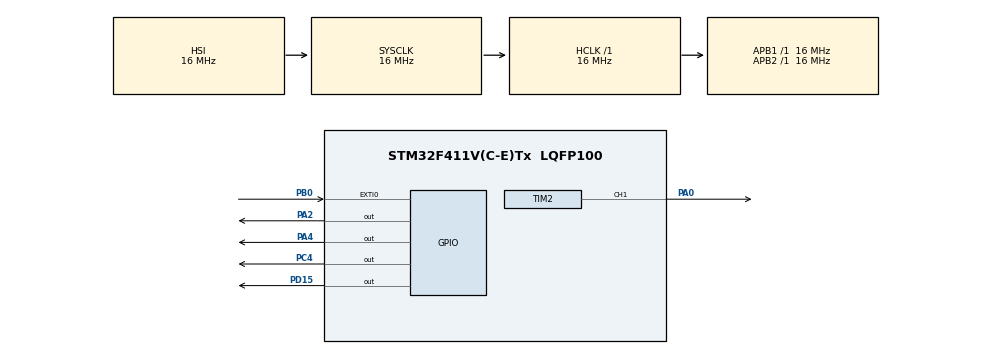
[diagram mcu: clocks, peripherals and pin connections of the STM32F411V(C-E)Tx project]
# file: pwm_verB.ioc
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Mcu.Family=STM32F4
Mcu.Name=STM32F411V(C-E)Tx
Mcu.Package=LQFP100
NVIC.EXTI0_IRQn=true\:1\:0\:true\:false\:true\:true\:true\:true
NVIC.PriorityGroup=NVIC_PRIORITYGROUP_4
PA0-WKUP.Signal=S_TIM2_CH1_ETR
PA13.Mode=Serial_Wire
PA13.Signal=SYS_JTMS-SWDIO
PA14.Mode=Serial_Wire
PA14.Signal=SYS_JTCK-SWCLK
PA2.Signal=GPIO_Output
PA4.Signal=GPIO_Output
PB0.GPIO_ModeDefaultEXTI=GPIO_MODE_IT_FALLING
PB0.Signal=GPXTI0
PC4.Signal=GPIO_Output
PD15.Signal=GPIO_Output
ProjectManager.HeapSize=0x200
ProjectManager.StackSize=0x400
ProjectManager.TargetToolchain=STM32CubeIDE
RCC.AHBFreq_Value=16000000
RCC.APB1Freq_Value=16000000
RCC.APB2Freq_Value=16000000
RCC.CortexFreq_Value=16000000
RCC.HSE_VALUE=25000000
RCC.HSI_VALUE=16000000
RCC.LSE_VALUE=32768
RCC.SYSCLKFreq_VALUE=16000000
RCC.VCOOutputFreq_Value=192000000
SH.S_TIM2_CH1_ETR.0=TIM2_CH1,PWM Generation1 CH1
TIM2.Channel-PWM\ Generation1\ CH1=TIM_CHANNEL_1
TIM2.Period=99
TIM2.Prescaler=159
VP_TIM2_VS_ClockSourceINT.Mode=Internal
board=custom

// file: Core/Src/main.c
/* USER CODE BEGIN Header */
/**
  ******************************************************************************
  * @file           : main.c
  * @brief          : Main program body
  ******************************************************************************
  * @attention
  *
  * Copyright (c) 2022 STMicroelectronics.
  * All rights reserved.
  *
  * This software is licensed under terms that can be found in the LICENSE file
  * in the root directory of this software component.
  * If no LICENSE file comes with this software, it is provided AS-IS.
  *
  ******************************************************************************
  */
/* USER CODE END Header */
#include "main.h"

/* USER CODE BEGIN PD */
#define IN1_PORT GPIOA
#define IN1_PIN GPIO_PIN_2

#define IN2_PORT GPIOA
#define IN2_PIN GPIO_PIN_4

#define RUNLED_PORT GPIOC
#define RUNLED_PIN GPIO_PIN_4
/* USER CODE END PD */

 TIM_HandleTypeDef htim2;

void SystemClock_Config(void);
static void MX_GPIO_Init(void);
static void MX_TIM2_Init(void);

/* USER CODE BEGIN 0 */
int8_t mode = 0;
void HAL_GPIO_EXTI_Callback(uint16_t GPIO_Pin)
 {

	if (mode == 0) {
		HAL_GPIO_WritePin(GPIOD, GPIO_PIN_15, GPIO_PIN_RESET);
		mode = 1;
	} else if (mode == 1) {
		HAL_GPIO_WritePin(GPIOD, GPIO_PIN_15, GPIO_PIN_SET);
		mode = 0;
	}
	HAL_Delay(200);
	uint32_t startTime = HAL_GetTick();
	while (HAL_GPIO_ReadPin(GPIOB, GPIO_PIN_0) == GPIO_PIN_RESET) {
		if (HAL_GetTick() - startTime > 3000) {
			break;
		}
	}
	HAL_Delay(100); // Error
	EXTI->PR = GPIO_Pin;

}
/* USER CODE END 0 */

int main(void)
{

  /* MCU Configuration--------------------------------------------------------*/

  /* Reset of all peripherals, Initializes the Flash interface and the Systick. */
  HAL_Init();

  /* Configure the system clock */
  SystemClock_Config();

  /* Initialize all configured peripherals */
  MX_GPIO_Init();
  MX_TIM2_Init();
  /* USER CODE BEGIN 2 */
  HAL_TIM_PWM_Start(&htim2, TIM_CHANNEL_1);
  /* USER CODE END 2 */

  /* Infinite loop */
  /* USER CODE BEGIN WHILE */
  while (1)
  {
	  		if (mode == 0) {
	  			HAL_GPIO_WritePin(IN1_PORT, IN1_PIN, 0);
	  			HAL_GPIO_WritePin(IN2_PORT, IN2_PIN, 0);
	  			HAL_GPIO_WritePin(RUNLED_PORT, RUNLED_PIN, 1);
	  			__HAL_TIM_SetCompare(&htim2,TIM_CHANNEL_1,0);
	  		} else if (mode == 1) {
	  			for (int i = 0; i <= 99; i++) {
	  				if(mode == 0)
	  				{
	  					break;
	  				}
	  				HAL_GPIO_WritePin(IN1_PORT, IN1_PIN, 1);
	  				HAL_GPIO_WritePin(IN2_PORT, IN2_PIN, 0);
	  				HAL_GPIO_WritePin(RUNLED_PORT, RUNLED_PIN, 0);
	  				__HAL_TIM_SetCompare(&htim2,TIM_CHANNEL_1,i);
	  				HAL_Delay(50);
	  			}
	  			HAL_Delay(1000);
	  			HAL_GPIO_WritePin(IN1_PORT, IN1_PIN, 0);
	  			HAL_GPIO_WritePin(IN2_PORT, IN2_PIN, 0);
	  			HAL_GPIO_WritePin(RUNLED_PORT, RUNLED_PIN, 1);
	  			__HAL_TIM_SetCompare(&htim2,TIM_CHANNEL_1,0);
	  			HAL_Delay(1000);
	  			for (int i = 0; i <= 99; i++) {
	  				if(mode == 0)
	  				{
	  					break;
	  				}
	  				HAL_GPIO_WritePin(IN1_PORT, IN1_PIN, 0);
	  				HAL_GPIO_WritePin(IN2_PORT, IN2_PIN, 1);
	  				HAL_GPIO_WritePin(RUNLED_PORT, RUNLED_PIN, 0);
	  				__HAL_TIM_SetCompare(&htim2,TIM_CHANNEL_1,i);
	  				HAL_Delay(50);
	  			}
	  			HAL_Delay(1000);
	  			HAL_GPIO_WritePin(IN1_PORT, IN1_PIN, 0);
	  			HAL_GPIO_WritePin(IN2_PORT, IN2_PIN, 0);
	  			HAL_GPIO_WritePin(RUNLED_PORT, RUNLED_PIN, 1);
	  			__HAL_TIM_SetCompare(&htim2,TIM_CHANNEL_1,0);
	  			HAL_Delay(1000);
	  		}
    /* USER CODE END WHILE */

  }
}

void SystemClock_Config(void)
{
  RCC_OscInitTypeDef RCC_OscInitStruct = {0};
  RCC_ClkInitTypeDef RCC_ClkInitStruct = {0};

  /** Configure the main internal regulator output voltage
  */
  __HAL_RCC_PWR_CLK_ENABLE();
  __HAL_PWR_VOLTAGESCALING_CONFIG(PWR_REGULATOR_VOLTAGE_SCALE1);

  /** Initializes the RCC Oscillators according to the specified parameters
  * in the RCC_OscInitTypeDef structure.
  */
  RCC_OscInitStruct.OscillatorType = RCC_OSCILLATORTYPE_HSI;
  RCC_OscInitStruct.HSIState = RCC_HSI_ON;
  RCC_OscInitStruct.HSICalibrationValue = RCC_HSICALIBRATION_DEFAULT;
  RCC_OscInitStruct.PLL.PLLState = RCC_PLL_NONE;
  if (HAL_RCC_OscConfig(&RCC_OscInitStruct) != HAL_OK)
  {
    Error_Handler();
  }

  /** Initializes the CPU, AHB and APB buses clocks
  */
  RCC_ClkInitStruct.ClockType = RCC_CLOCKTYPE_HCLK|RCC_CLOCKTYPE_SYSCLK
                              |RCC_CLOCKTYPE_PCLK1|RCC_CLOCKTYPE_PCLK2;
  RCC_ClkInitStruct.SYSCLKSource = RCC_SYSCLKSOURCE_HSI;
  RCC_ClkInitStruct.AHBCLKDivider = RCC_SYSCLK_DIV1;
  RCC_ClkInitStruct.APB1CLKDivider = RCC_HCLK_DIV1;
  RCC_ClkInitStruct.APB2CLKDivider = RCC_HCLK_DIV1;

  if (HAL_RCC_ClockConfig(&RCC_ClkInitStruct, FLASH_LATENCY_0) != HAL_OK)
  {
    Error_Handler();
  }
}

static void MX_TIM2_Init(void)
{

  TIM_ClockConfigTypeDef sClockSourceConfig = {0};
  TIM_MasterConfigTypeDef sMasterConfig = {0};
  TIM_OC_InitTypeDef sConfigOC = {0};

  htim2.Instance = TIM2;
  htim2.Init.Prescaler = 159;
  htim2.Init.CounterMode = TIM_COUNTERMODE_UP;
  htim2.Init.Period = 99;
  htim2.Init.ClockDivision = TIM_CLOCKDIVISION_DIV1;
  htim2.Init.AutoReloadPreload = TIM_AUTORELOAD_PRELOAD_DISABLE;
  if (HAL_TIM_Base_Init(&htim2) != HAL_OK)
  {
    Error_Handler();
  }
  sClockSourceConfig.ClockSource = TIM_CLOCKSOURCE_INTERNAL;
  if (HAL_TIM_ConfigClockSource(&htim2, &sClockSourceConfig) != HAL_OK)
  {
    Error_Handler();
  }
  if (HAL_TIM_PWM_Init(&htim2) != HAL_OK)
  {
    Error_Handler();
  }
  sMasterConfig.MasterOutputTrigger = TIM_TRGO_RESET;
  sMasterConfig.MasterSlaveMode = TIM_MASTERSLAVEMODE_DISABLE;
  if (HAL_TIMEx_MasterConfigSynchronization(&htim2, &sMasterConfig) != HAL_OK)
  {
    Error_Handler();
  }
  sConfigOC.OCMode = TIM_OCMODE_PWM1;
  sConfigOC.Pulse = 0;
  sConfigOC.OCPolarity = TIM_OCPOLARITY_HIGH;
  sConfigOC.OCFastMode = TIM_OCFAST_DISABLE;
  if (HAL_TIM_PWM_ConfigChannel(&htim2, &sConfigOC, TIM_CHANNEL_1) != HAL_OK)
  {
    Error_Handler();
  }
  HAL_TIM_MspPostInit(&htim2);

}

static void MX_GPIO_Init(void)
{
  GPIO_InitTypeDef GPIO_InitStruct = {0};

  /* GPIO Ports Clock Enable */
  __HAL_RCC_GPIOA_CLK_ENABLE();
  __HAL_RCC_GPIOC_CLK_ENABLE();
  __HAL_RCC_GPIOB_CLK_ENABLE();
  __HAL_RCC_GPIOD_CLK_ENABLE();

  /*Configure GPIO pin Output Level */
  HAL_GPIO_WritePin(GPIOA, GPIO_PIN_2|GPIO_PIN_4, GPIO_PIN_RESET);

  /*Configure GPIO pin Output Level */
  HAL_GPIO_WritePin(GPIOC, GPIO_PIN_4, GPIO_PIN_RESET);

  /*Configure GPIO pin Output Level */
  HAL_GPIO_WritePin(GPIOD, GPIO_PIN_15, GPIO_PIN_RESET);

  /*Configure GPIO pins : PA2 PA4 */
  GPIO_InitStruct.Pin = GPIO_PIN_2|GPIO_PIN_4;
  GPIO_InitStruct.Mode = GPIO_MODE_OUTPUT_PP;
  GPIO_InitStruct.Pull = GPIO_NOPULL;
  GPIO_InitStruct.Speed = GPIO_SPEED_FREQ_LOW;
  HAL_GPIO_Init(GPIOA, &GPIO_InitStruct);

  /*Configure GPIO pin : PC4 */
  GPIO_InitStruct.Pin = GPIO_PIN_4;
  GPIO_InitStruct.Mode = GPIO_MODE_OUTPUT_PP;
  GPIO_InitStruct.Pull = GPIO_NOPULL;
  GPIO_InitStruct.Speed = GPIO_SPEED_FREQ_LOW;
  HAL_GPIO_Init(GPIOC, &GPIO_InitStruct);

  /*Configure GPIO pin : PB0 */
  GPIO_InitStruct.Pin = GPIO_PIN_0;
  GPIO_InitStruct.Mode = GPIO_MODE_IT_FALLING;
  GPIO_InitStruct.Pull = GPIO_NOPULL;
  HAL_GPIO_Init(GPIOB, &GPIO_InitStruct);

  /*Configure GPIO pin : PD15 */
  GPIO_InitStruct.Pin = GPIO_PIN_15;
  GPIO_InitStruct.Mode = GPIO_MODE_OUTPUT_PP;
  GPIO_InitStruct.Pull = GPIO_NOPULL;
  GPIO_InitStruct.Speed = GPIO_SPEED_FREQ_LOW;
  HAL_GPIO_Init(GPIOD, &GPIO_InitStruct);

  /* EXTI interrupt init*/
  HAL_NVIC_SetPriority(EXTI0_IRQn, 1, 0);
  HAL_NVIC_EnableIRQ(EXTI0_IRQn);

}

void Error_Handler(void)
{
  __disable_irq();
  while (1)
  {
  }
}
